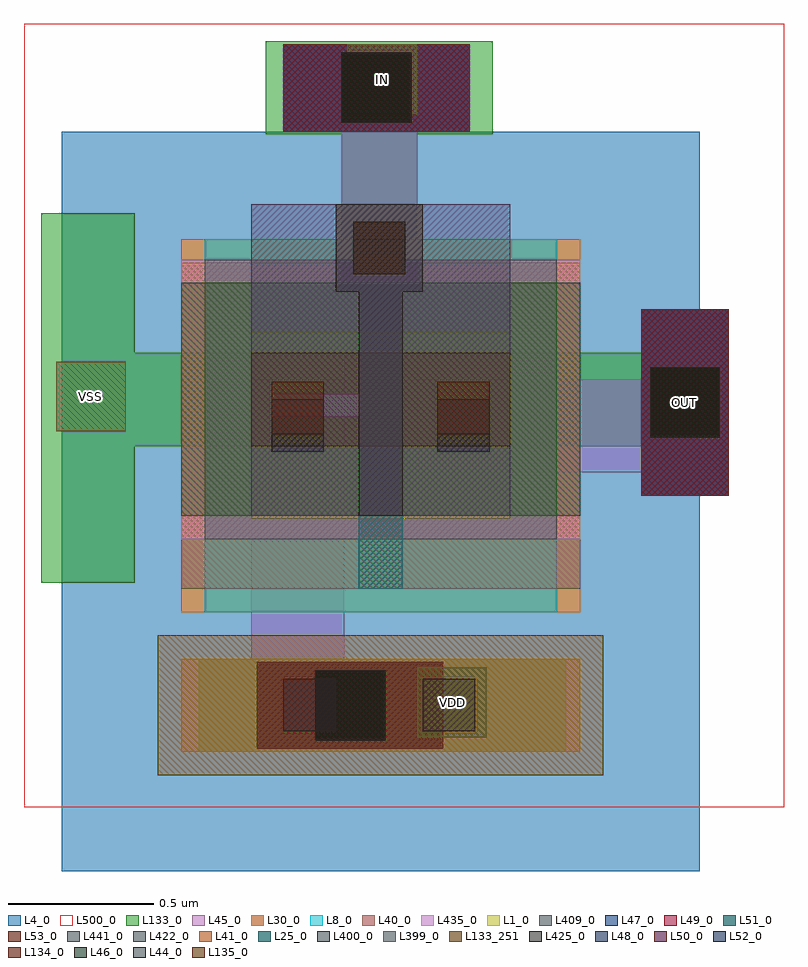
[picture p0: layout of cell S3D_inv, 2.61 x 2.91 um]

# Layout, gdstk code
from math import pi, radians
import gdstk
lib = gdstk.Library(unit=1e-6, precision=1e-09)
def R(c, l, rs):  # rectangles x0, y0, x1, y1
    for r in rs: c.add(gdstk.rectangle(r[:2], r[2:], *l))
L1_0 = (1, 0)
L4_0 = (4, 0)
L8_0 = (8, 0)
L25_0 = (25, 0)
L30_0 = (30, 0)
L40_0 = (40, 0)
L41_0 = (41, 0)
L44_0 = (44, 0)
L45_0 = (45, 0)
L46_0 = (46, 0)
L47_0 = (47, 0)
L48_0 = (48, 0)
L49_0 = (49, 0)
L50_0 = (50, 0)
L51_0 = (51, 0)
L52_0 = (52, 0)
L53_0 = (53, 0)
L133_0 = (133, 0)
L133_251 = (133, 251)
L134_0 = (134, 0)
L135_0 = (135, 0)
L399_0 = (399, 0)
L400_0 = (400, 0)
L409_0 = (409, 0)
L422_0 = (422, 0)
L425_0 = (425, 0)
L435_0 = (435, 0)
L441_0 = (441, 0)
L500_0 = (500, 0)

abutcontact__7 = lib.new_cell('AbutContact$$7')
R(abutcontact__7, L1_0, [(-0.05,-0.03,1.32,0.29)])
R(abutcontact__7, L44_0, [(0.3,0.04,0.48,0.22), (0.78,0.04,0.96,0.22)])
R(abutcontact__7, L45_0, [(-0.05,-0.03,1.32,0.29)])

pmos_hs_4__6 = lib.new_cell('pmos_hs_4$$6')
R(pmos_hs_4__6, L1_0, [(-0.37,0,0,0.64), (0,0,0.15,0.64), (0.15,0,0.52,0.64), (-0.37,0.16,-0.05,0.48), (0.2,0.16,0.52,0.48)])
R(pmos_hs_4__6, L4_0, [(-1.02,-1.21,1.17,1.33), (-1.02,-1.21,1.17,1.33), (-0.77,-0.96,0.92,0.96)])
R(pmos_hs_4__6, L8_0, [(-0.53,-0.32,0.68,0.96)])
R(pmos_hs_4__6, L25_0, [(0,-0.24,0.15,0), (0,-0.24,0.15,0.88), (0,0.64,0.15,0.88), (-0.08,0.78,0.22,1.08), (-0.08,0.78,0.22,1.08)])
R(pmos_hs_4__6, L30_0, [(-0.61,-0.32,0.76,0.96)])
R(pmos_hs_4__6, L40_0, [(-0.61,-0.24,0.76,0.88)])
R(pmos_hs_4__6, L41_0, [(-0.69,-0.88,0.84,-0.4)])
R(pmos_hs_4__6, L44_0, [(-0.3,0.23,-0.12,0.41), (0.27,0.23,0.45,0.41), (-0.02,0.84,0.16,1.02)])
R(pmos_hs_4__6, L45_0, [(-0.61,-0.8,0.76,-0.48), (-0.37,0.16,-0.05,0.48), (0.2,0.16,0.52,0.48), (-0.06,0.81,0.2,1.05)])
pmos_hs_4__6.add(gdstk.Reference(abutcontact__7, (-0.56,-0.77)))

nmos_hs_4_top__8 = lib.new_cell('nmos_hs_4_top$$8')
R(nmos_hs_4_top__8, L133_0, [(-0.37,0,-0.05,0.32), (0.2,0,0.52,0.32), (-0.28,0.06,-0.14,0.2), (0.29,0.06,0.43,0.2), (-0.06,0.56,0.2,0.8), (0,0.61,0.14,0.75)])
R(nmos_hs_4_top__8, L135_0, [(-0.3,0.04,-0.12,0.22), (0.27,0.04,0.45,0.22), (-0.02,0.59,0.16,0.77)])
R(nmos_hs_4_top__8, L399_0, [(0,-0.24,0.15,0.53), (0.04,0.1,0.1,0.18), (-0.08,0.53,0.22,0.83)])
R(nmos_hs_4_top__8, L400_0, [(-0.37,0,-0.05,0.32), (-0.05,0,0,0.32), (0,0,0.15,0.32), (0.15,0,0.2,0.32), (0.2,0,0.52,0.32)])
R(nmos_hs_4_top__8, L409_0, [(-0.53,-0.32,0.68,0.64)])
R(nmos_hs_4_top__8, L422_0, [(-0.37,-0.24,0.52,0.83)])
R(nmos_hs_4_top__8, L425_0, [(0,-0.24,0.15,0.53), (-0.08,0.53,0.22,0.83)])
R(nmos_hs_4_top__8, L435_0, [(-0.61,-0.32,0.76,0.64)])
R(nmos_hs_4_top__8, L441_0, [(-0.61,-0.24,0.76,0.56)])

m2_m3__1 = lib.new_cell('M2_M3$$1')
R(m2_m3__1, L47_0, [(-0.15,-0.32,0.15,0.32)])
R(m2_m3__1, L48_0, [(-0.12,-0.12,0.12,0.12)])
R(m2_m3__1, L49_0, [(-0.15,-0.32,0.15,0.32)])

m3_m4__2 = lib.new_cell('M3_M4$$2')
R(m3_m4__2, L49_0, [(-0.15,-0.32,0.15,0.32)])
R(m3_m4__2, L50_0, [(-0.12,-0.12,0.12,0.12)])
R(m3_m4__2, L51_0, [(-0.15,-0.32,0.15,0.32)])

m4_m5__3 = lib.new_cell('M4_M5$$3')
R(m4_m5__3, L51_0, [(-0.15,-0.32,0.15,0.32)])
R(m4_m5__3, L52_0, [(-0.12,-0.12,0.12,0.12)])
R(m4_m5__3, L53_0, [(-0.15,-0.32,0.15,0.32)])

m5_m1_top__4 = lib.new_cell('M5_M1_top$$4')
R(m5_m1_top__4, L53_0, [(-0.15,-0.32,0.15,0.32)])
R(m5_m1_top__4, L133_0, [(-0.15,-0.16,0.15,0.16)])
R(m5_m1_top__4, L134_0, [(-0.12,-0.12,0.12,0.12)])

m1_m2__5 = lib.new_cell('M1_M2$$5')
R(m1_m2__5, L45_0, [(-0.15,-0.32,0.15,0.32)])
R(m1_m2__5, L46_0, [(-0.12,-0.12,0.12,0.12)])
R(m1_m2__5, L47_0, [(-0.15,-0.32,0.15,0.32)])

s3d_inv = lib.new_cell('S3D_inv')
R(s3d_inv, L45_0, [(1.84,1.27,2.16,2.52), (2.41,2.2,3.18,2.52), (2.15,2.85,2.41,3.67)])
R(s3d_inv, L133_0, [(1.66,1.24,2.92,1.56), (1.12,1.82,1.44,3.09), (3.18,2.12,3.48,2.76), (1.44,2.29,2.16,2.61), (2.41,2.29,3.48,2.61), (2.15,2.85,2.41,3.68), (1.89,3.36,2.67,3.68)])
R(s3d_inv, L133_251, [(2.41,1.29,2.65,1.53), (3.21,2.32,3.45,2.56), (1.17,2.34,1.41,2.58), (2.17,3.43,2.41,3.67)])
R(s3d_inv, L399_0, [(1.91,2.39,2.31,2.47)])
R(s3d_inv, L500_0, [(1.06,1.05,3.67,3.74)])
s3d_inv.add(gdstk.Reference(pmos_hs_4__6, (2.21,2.04)))
s3d_inv.add(gdstk.Reference(nmos_hs_4_top__8, (2.21,2.29)))
s3d_inv.add(gdstk.Reference(m2_m3__1, (2.18,1.4), rotation=pi/2))
s3d_inv.add(gdstk.Reference(m2_m3__1, (3.33,2.44)))
s3d_inv.add(gdstk.Reference(m2_m3__1, (2.27,3.52), rotation=pi/2))
s3d_inv.add(gdstk.Reference(m3_m4__2, (2.18,1.4), rotation=pi/2))
s3d_inv.add(gdstk.Reference(m3_m4__2, (3.33,2.44)))
s3d_inv.add(gdstk.Reference(m3_m4__2, (2.27,3.52), rotation=pi/2))
s3d_inv.add(gdstk.Reference(m4_m5__3, (2.18,1.4), rotation=pi/2))
s3d_inv.add(gdstk.Reference(m4_m5__3, (3.33,2.44)))
s3d_inv.add(gdstk.Reference(m4_m5__3, (2.27,3.52), rotation=pi/2))
s3d_inv.add(gdstk.Reference(m5_m1_top__4, (2.18,1.4), rotation=pi/2))
s3d_inv.add(gdstk.Reference(m5_m1_top__4, (3.33,2.44)))
s3d_inv.add(gdstk.Reference(m5_m1_top__4, (2.27,3.52), rotation=pi/2))
s3d_inv.add(gdstk.Reference(m1_m2__5, (2.18,1.4), rotation=pi/2))
s3d_inv.add(gdstk.Reference(m1_m2__5, (3.33,2.44)))
s3d_inv.add(gdstk.Reference(m1_m2__5, (2.27,3.52), rotation=pi/2))
s3d_inv.add(gdstk.Label('OUT', (3.33,2.44), layer=133, texttype=251))
s3d_inv.add(gdstk.Label('IN', (2.29,3.55), layer=133, texttype=251))
s3d_inv.add(gdstk.Label('VSS', (1.29,2.46), layer=133, texttype=251))
s3d_inv.add(gdstk.Label('VDD', (2.53,1.41), layer=133, texttype=251))

lib.write_gds('S3D_inv.gds')
